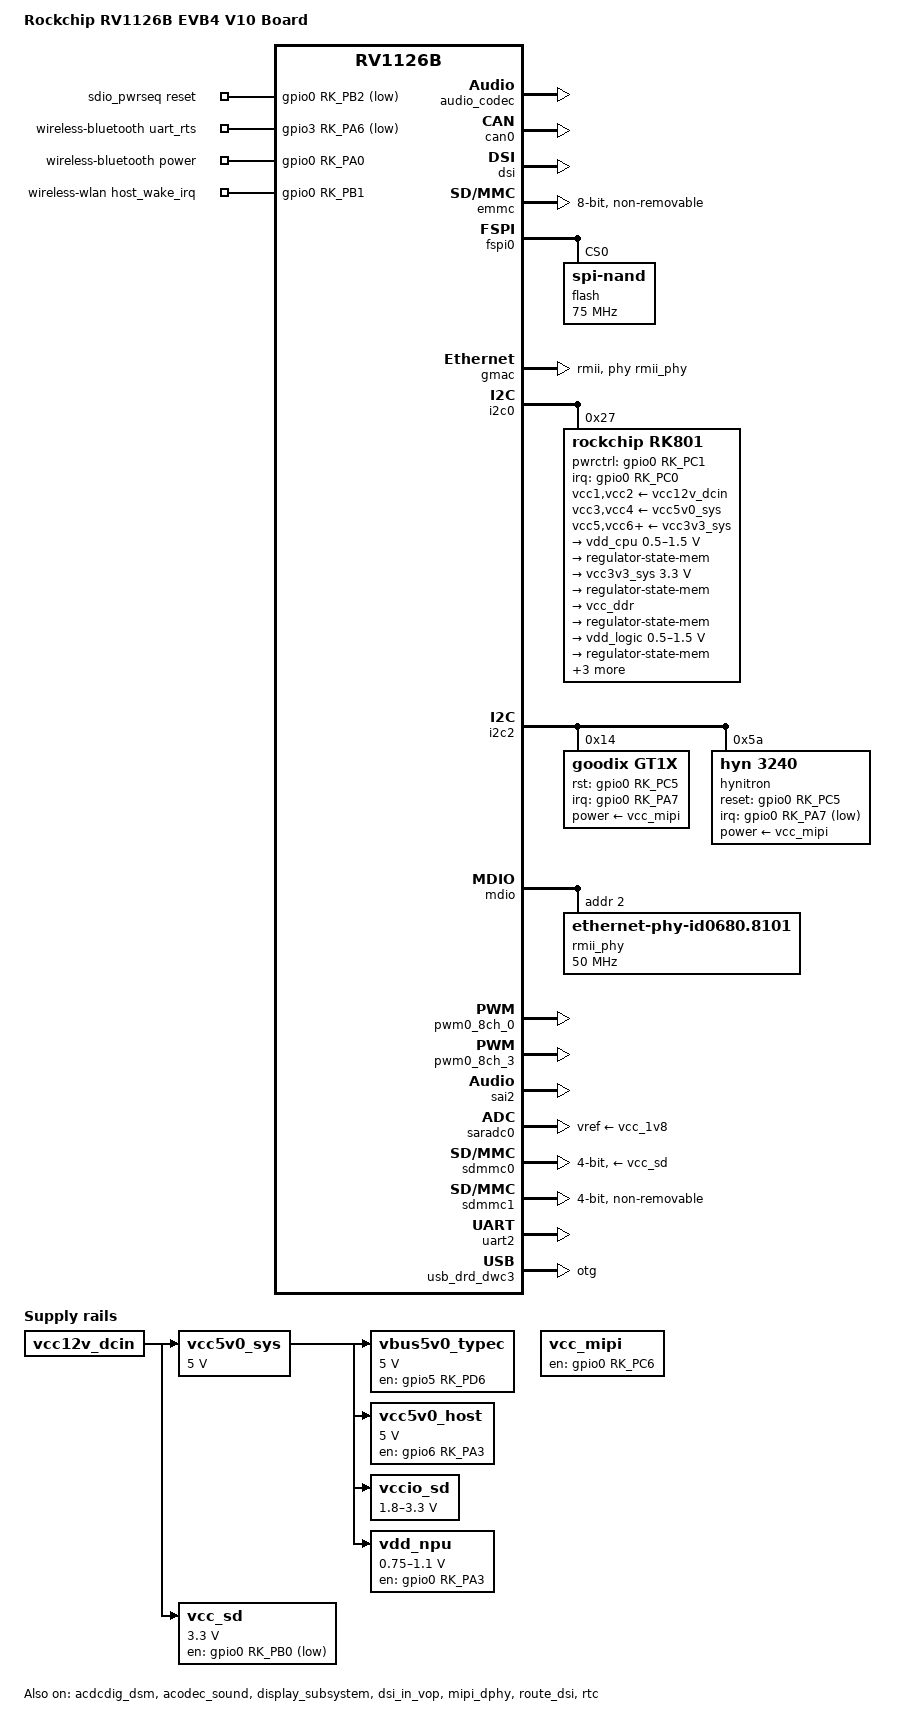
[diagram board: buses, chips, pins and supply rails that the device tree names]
// SPDX-License-Identifier: (GPL-2.0+ OR MIT)
/*
 * Copyright (c) 2025 Rockchip Electronics Co., Ltd.
 */

/dts-v1/;
#include "rv1126b.dtsi"
#include "rv1126b-evb.dtsi"
#include "rv1126b-evb-cam-csi0.dtsi"

/ {
	model = "Rockchip RV1126B EVB4 V10 Board";
	compatible = "rockchip,rv1126b-evb4-v10", "rockchip,rv1126b";

	sdio_pwrseq: sdio-pwrseq {
		compatible = "mmc-pwrseq-simple";
		pinctrl-names = "default";
		pinctrl-0 = <&wifi_enable_h>;

		/*
		 * On the module itself this is one of these (depending
		 * on the actual card populated):
		 * - SDIO_RESET_L_WL_REG_ON
		 * - PDN (power down when low)
		 */
		reset-gpios = <&gpio0 RK_PB2 GPIO_ACTIVE_LOW>;
	};

	vcc5v0_sys: vcc5v0-sys {
		compatible = "regulator-fixed";
		regulator-name = "vcc5v0_sys";
		regulator-always-on;
		regulator-boot-on;
		regulator-min-microvolt = <5000000>;
		regulator-max-microvolt = <5000000>;
		vin-supply = <&vcc12v_dcin>;
		status = "okay";
	};

	vbus5v0_typec: vbus5v0-typec {
		compatible = "regulator-fixed";
		regulator-name = "vbus5v0_typec";
		regulator-min-microvolt = <5000000>;
		regulator-max-microvolt = <5000000>;
		enable-active-high;
		gpio = <&gpio5 RK_PD6 GPIO_ACTIVE_HIGH>;
		vin-supply = <&vcc5v0_sys>;
		pinctrl-names = "default";
		pinctrl-0 = <&typec5v_pwren>;
	};

	vcc5v0_host: vcc5v0-host {
		compatible = "regulator-fixed";
		regulator-name = "vcc5v0_host";
		regulator-boot-on;
		regulator-always-on;
		regulator-min-microvolt = <5000000>;
		regulator-max-microvolt = <5000000>;
		enable-active-high;
		gpio = <&gpio6 RK_PA3 GPIO_ACTIVE_HIGH>;
		vin-supply = <&vcc5v0_sys>;
		pinctrl-names = "default";
		pinctrl-0 = <&vcc5v0_host_en>;
	};

	vcc_mipi: vcc-mipi {
		compatible = "regulator-fixed";
		regulator-name = "vcc_mipi";
		gpio = <&gpio0 RK_PC6 GPIO_ACTIVE_HIGH>;
		enable-active-high;
		regulator-boot-on;
	};

	vcc_sd: vcc-sd {
		compatible = "regulator-fixed";
		gpio = <&gpio0 RK_PB0 GPIO_ACTIVE_LOW>;
		regulator-name = "vcc_sd";
		regulator-min-microvolt = <3300000>;
		regulator-max-microvolt = <3300000>;
		enable-active-low;
		regulator-boot-on;	// The legacy U-Boot GPIO driver needs this to set correct SDMMC0_PWREN value
		vin-supply = <&vcc12v_dcin>;
	};

	vccio_sd: vccio-sd {
		compatible = "regulator-gpio";
		regulator-boot-on;
		regulator-name = "vccio_sd";
		regulator-min-microvolt = <1800000>;
		regulator-max-microvolt = <3300000>;
		pinctrl-names = "default";
		pinctrl-0 = <&sdmmc_volt>;
		gpios = <&gpio0 RK_PA6 GPIO_ACTIVE_HIGH>;
		vin-supply = <&vcc5v0_sys>;
		states = <1800000 0x0
			  3300000 0x1>;
	};

	vdd_npu: vdd-npu {
		compatible = "pwm-regulator";
		pwms = <&pwm0_8ch_0 0 25000 1>;
		regulator-name = "vdd_npu";
		regulator-init-microvolt = <950000>;
		regulator-min-microvolt = <750000>;
		regulator-max-microvolt = <1100000>;
		regulator-settling-time-up-us = <250>;
		regulator-always-on;
		regulator-boot-on;
		enable-gpios = <&gpio0 RK_PA3 GPIO_ACTIVE_HIGH>;
		pwm-supply = <&vcc5v0_sys>;
	};

	wireless-bluetooth {
		compatible = "bluetooth-platdata";
		uart_rts_gpios = <&gpio3 RK_PA6 GPIO_ACTIVE_LOW>;
		pinctrl-names = "default", "rts_gpio";
		pinctrl-0 = <&uart2m0_rtsn_pins>;
		pinctrl-1 = <&uart2_gpios>;
		BT,power_gpio = <&gpio0 RK_PA0 GPIO_ACTIVE_HIGH>;
		status = "okay";
	};

	wireless-wlan {
		compatible = "wlan-platdata";
		rockchip,grf = <&grf>;
		pinctrl-names = "default";
		pinctrl-0 = <&wifi_wake_host>;
		wifi_chip_type = "rk96x";
		WIFI,host_wake_irq = <&gpio0 RK_PB1 GPIO_ACTIVE_HIGH>;
		status = "okay";
	};
};

&acdcdig_dsm {
	status = "okay";
	pa-ctl-gpios = <&gpio0 RK_PA4 GPIO_ACTIVE_HIGH>;
	pinctrl-0 = <&dsm_aud_rn_pins &dsm_aud_rp_pins>;
};

&acodec_sound {
	status = "okay";
};

&audio_codec_pmu {
	status = "okay";
};

&audio_codec {
	status = "okay";
};

&backlight {
	pwms = <&pwm0_8ch_3 0 25000 0>;
};

&can0 {
	assigned-clocks = <&cru CLK_CAN0>;
	assigned-clock-rates = <200000000>;
	pinctrl-names = "default";
	pinctrl-0 = <&can0m1_pins>;
	status = "okay";
};

&cpu0 {
	cpu-supply = <&vdd_cpu>;
};

&display_subsystem {
	status = "okay";
};

&dsi {
	status = "okay";
};

&dsi_in_vop {
	status = "okay";
};

&dsi_panel {
	power-supply = <&vcc_mipi>;
};

&dsmc {
	clock-frequency = <100000000>;
	status = "disabled";
	slave {
		rockchip,dqs-dll = <0x20 0x20
				    0x20 0x20
				    0x20 0x20
				    0x20 0x20>;
		rockchip,ranges = <0x0 0x10000000 0x0 0x2000000>;
	};
};

&dsmc_slave {
	status = "disabled";
	lb-slave {
		dsmc_lb_slave0: lb-slave0 {
			rockchip,int-en = <0x0>;
			status = "okay";
			dsmc_p0_region: region {
				dsmc_p0_region0: region0 {
					status = "okay";
				};
				dsmc_p0_region3: region3 {
					status = "okay";
				};
			};
		};
	};
};

&emmc {
	bus-width = <8>;
	cap-mmc-highspeed;
	non-removable;
	mmc-hs200-1_8v;
	rockchip,default-sample-phase = <90>;
	no-sdio;
	no-sd;
	status = "okay";
};

&fspi0 {
	status = "okay";

	flash@0 {
		compatible = "spi-nand";
		reg = <0>;
		spi-max-frequency = <75000000>;
		spi-rx-bus-width = <4>;
		spi-tx-bus-width = <1>;
	};
};

&gmac {
	phy-mode = "rmii";
	clock_in_out = "input";
	phy-handle = <&rmii_phy>;
	status = "okay";
};

&i2c0 {
	status = "okay";

	rk801: rk801@27 {
		compatible = "rockchip,rk801";
		status = "okay";
		reg = <0x27>;
		interrupt-parent = <&gpio0>;
		interrupts = <RK_PC0 IRQ_TYPE_LEVEL_LOW>;
		pwrctrl-gpios = <&gpio0 RK_PC1 GPIO_ACTIVE_HIGH>;

		pinctrl-names = "default", "pmic-reset";
		pinctrl-0 = <&pmic_int>;
		pinctrl-1 = <&soc_pwrctrl_reset>;
		rockchip,system-power-controller;
		wakeup-source;

		vcc1-supply = <&vcc12v_dcin>;
		vcc2-supply = <&vcc12v_dcin>;
		vcc3-supply = <&vcc5v0_sys>;
		vcc4-supply = <&vcc5v0_sys>;
		vcc5-supply = <&vcc3v3_sys>;
		vcc6-supply = <&vcc3v3_sys>;
		vcc7-supply = <&vcc3v3_sys>;

		regulators {
			vdd_cpu: DCDC_REG1 {
				regulator-name = "vdd_cpu";
				regulator-min-microvolt = <500000>;
				regulator-max-microvolt = <1500000>;
				regulator-initial-mode = <0x1>;
				regulator-boot-on;
				regulator-always-on;
				regulator-state-mem {
					regulator-mode = <0x2>;
					regulator-off-in-suspend;
					regulator-suspend-microvolt = <950000>;
				};
			};

			vcc3v3_sys: DCDC_REG2 {
				regulator-name = "vcc3v3_sys";
				regulator-min-microvolt = <3300000>;
				regulator-max-microvolt = <3300000>;
				regulator-initial-mode = <0x1>;
				regulator-boot-on;
				regulator-always-on;
				regulator-state-mem {
					regulator-mode = <0x2>;
					regulator-on-in-suspend;
					regulator-suspend-microvolt = <3300000>;
				};
			};

			vcc_ddr: DCDC_REG3 {
				regulator-name = "vcc_ddr";
				regulator-boot-on;
				regulator-always-on;
				regulator-state-mem {
					regulator-mode = <0x2>;
					regulator-on-in-suspend;
				};
			};

			vdd_logic: DCDC_REG4 {
				regulator-name = "vdd_logic";
				regulator-min-microvolt = <500000>;
				regulator-max-microvolt = <1500000>;
				regulator-initial-mode = <0x1>;
				regulator-boot-on;
				regulator-always-on;
				regulator-state-mem {
					regulator-mode = <0x2>;
					regulator-off-in-suspend;
					regulator-suspend-microvolt = <900000>;
				};
			};

			vdd0v9_sys: LDO_REG1 {
				regulator-name = "vdd0v9_sys";
				regulator-min-microvolt = <900000>;
				regulator-max-microvolt = <900000>;
				regulator-boot-on;
				regulator-always-on;
				regulator-state-mem {
					regulator-on-in-suspend;
					regulator-suspend-microvolt = <900000>;
				};
			};

			vcc_1v8: LDO_REG2 {
				regulator-name = "vcc_1v8";
				regulator-min-microvolt = <1800000>;
				regulator-max-microvolt = <1800000>;
				regulator-boot-on;
				regulator-always-on;
				regulator-state-mem {
					regulator-off-in-suspend;
					regulator-suspend-microvolt = <1800000>;
				};
			};

			vcc_3v3: SWITCH_REG {
				regulator-name = "vcc_3v3";
				regulator-boot-on;
				regulator-always-on;
				regulator-state-mem {
					regulator-off-in-suspend;
					regulator-suspend-microvolt = <3300000>;
				};
			};
		};
	};
};

&i2c2 {
	status = "okay";

	gt1x: gt1x@14 {
		compatible = "goodix,gt1x";
		reg = <0x14>;
		pinctrl-names = "default";
		power-supply = <&vcc_mipi>;
		goodix,rst-gpio = <&gpio0 RK_PC5 GPIO_ACTIVE_HIGH>;
		goodix,irq-gpio = <&gpio0 RK_PA7 IRQ_TYPE_LEVEL_LOW>;
	};

	hynitron: hynitron@5a {
		compatible = "hyn,3240";
		reg = <0x5a>;
		power-supply = <&vcc_mipi>;

		pinctrl-names = "ts_active","ts_suspend";
		pinctrl-0 = <&ts_int_active &ts_reset_active>;
		pinctrl-1 = <&ts_int_suspend &ts_reset_suspend>;

		reset-gpios = <&gpio0 RK_PC5 GPIO_ACTIVE_HIGH>;
		irq-gpios = <&gpio0 RK_PA7 GPIO_ACTIVE_LOW>;

		max-touch-number = <5>;
		display-coords = <0 0 1080 1920>;
		pos-swap = <0>;
		posx-reverse = <0>;
		posy-reverse = <0>;
	};
};

&mdio {
	rmii_phy: ethernet-phy@2 {
		compatible = "ethernet-phy-id0680.8101", "ethernet-phy-ieee802.3-c22";
		reg = <2>;
		clocks = <&cru CLK_MACPHY>;
		clock-frequency = <50000000>;
		resets = <&cru SRST_RESETN_MACPHY>;
		pinctrl-names = "default";
		pinctrl-0 = <&fephym1_pins>;
		phy-is-integrated;
	};
};

&mipi_dphy {
	status = "okay";
};

&pinctrl {
	pmic {
		pmic_int: pmic-int {
			rockchip,pins = <0 RK_PC0 RK_FUNC_GPIO &pcfg_pull_up>;
		};

		soc_pwrctrl_reset: soc-pwrctrl-reset {
			rockchip,pins = <0 RK_PC1 RK_FUNC_GPIO &pcfg_output_high>;
		};
	};

	sdio-pwrseq {
		wifi_enable_h: wifi-enable-h {
			rockchip,pins = <0 RK_PB2 RK_FUNC_GPIO &pcfg_pull_none>;
		};
	};

	sdmmc {
		/omit-if-no-ref/
		sdmmc_volt: sdmmc-volt {
			rockchip,pins = <0 RK_PA6 RK_FUNC_GPIO &pcfg_pull_none>;
		};
	};

	touch {
		ts_int_active: ts_int_active {
			rockchip,pins = <0 RK_PA7 RK_FUNC_GPIO &pcfg_pull_up>;
		};

		ts_reset_active: ts_reset_active {
			rockchip,pins = <0 RK_PC5 RK_FUNC_GPIO &pcfg_pull_up>;
		};

		ts_int_suspend: ts_int_suspend {
			rockchip,pins = <0 RK_PA7 RK_FUNC_GPIO &pcfg_pull_down>;
		};

		ts_reset_suspend: ts_reset_suspend {
			rockchip,pins = <0 RK_PC5 RK_FUNC_GPIO &pcfg_pull_down>;
		};
	};

	usb {
		typec5v_pwren: typec5v-pwren {
			rockchip,pins = <5 RK_PD6 RK_FUNC_GPIO &pcfg_pull_none>;
		};

		vcc5v0_host_en: vcc5v0-host-en {
			rockchip,pins = <6 RK_PA3 RK_FUNC_GPIO &pcfg_pull_none>;
		};
	};

	wireless-bluetooth {
		uart2_gpios: uart2-gpios {
			rockchip,pins = <3 RK_PA6 RK_FUNC_GPIO &pcfg_pull_none>;
		};
	};

	wireless-wlan {
		wifi_wake_host: wifi-wake-host {
			rockchip,pins = <0 RK_PB1 RK_FUNC_GPIO &pcfg_pull_up>;
		};
	};
};

&pwm0_8ch_0 {
	status = "okay";
};

&pwm0_8ch_3 {
	status = "okay";
};

&rknpu {
	rknpu-supply = <&vdd_npu>;
};

&rkvenc {
	venc-supply = <&vdd_logic>;
};

&rockchip_suspend {
	status = "okay";

	rockchip,sleep-debug-en = <1>;

	rockchip,sleep-mode-config = <
		(0
		| RKPM_SLP_ARMOFF_LOGOFF
		| RKPM_SLP_PMU_PMUALIVE_32K
		| RKPM_SLP_PMU_DIS_OSC
		| RKPM_SLP_32K_EXT
		)
	>;

	rockchip,sleep-pin-config = <
		(0
		| RKPM_SLEEP_PIN2_EN
		)
		(0
		)
	>;
};

&route_dsi {
	status = "okay";
};

&rtc {
	rockchip,rtc-suspend-bypass;
	status = "okay";
};

&sai2 {
	status = "okay";
	/delete-property/ pinctrl-names;
	/delete-property/ pinctrl-0;
};

&saradc0 {
	vref-supply = <&vcc_1v8>;
};

&sdmmc0 {
	max-frequency = <200000000>;
	no-sdio;
	no-mmc;
	bus-width = <4>;
	cap-mmc-highspeed;
	cap-sd-highspeed;
	disable-wp;
	sd-uhs-sdr104;
	vmmc-supply = <&vcc_sd>;
	vqmmc-supply = <&vccio_sd>;
	status = "okay";
};

&sdmmc1 {
	bus-width = <4>;
	cap-sd-highspeed;
	no-sd;
	no-mmc;
	max-frequency = <200000000>;
	pinctrl-names = "default";
	pinctrl-0 = <&sdmmc1_clk_pins &sdmmc1_cmd_pins &sdmmc1_bus4_pins>;
	keep-power-in-suspend;
	non-removable;
	mmc-pwrseq = <&sdio_pwrseq>;
	//sd-uhs-sdr104;
	status = "okay";
};

&uart2 {
	status = "okay";
	pinctrl-names = "default";
	pinctrl-0 = <&uart2m0_xfer_pins &uart2m0_ctsn_pins>;
};

&usb2phy_host {
	phy-supply = <&vcc5v0_host>;
};

&usb2phy_otg {
	vbus-supply = <&vbus5v0_typec>;
};

&usb_drd_dwc3 {
	dr_mode = "otg";
	extcon = <&usb2phy>;
};
